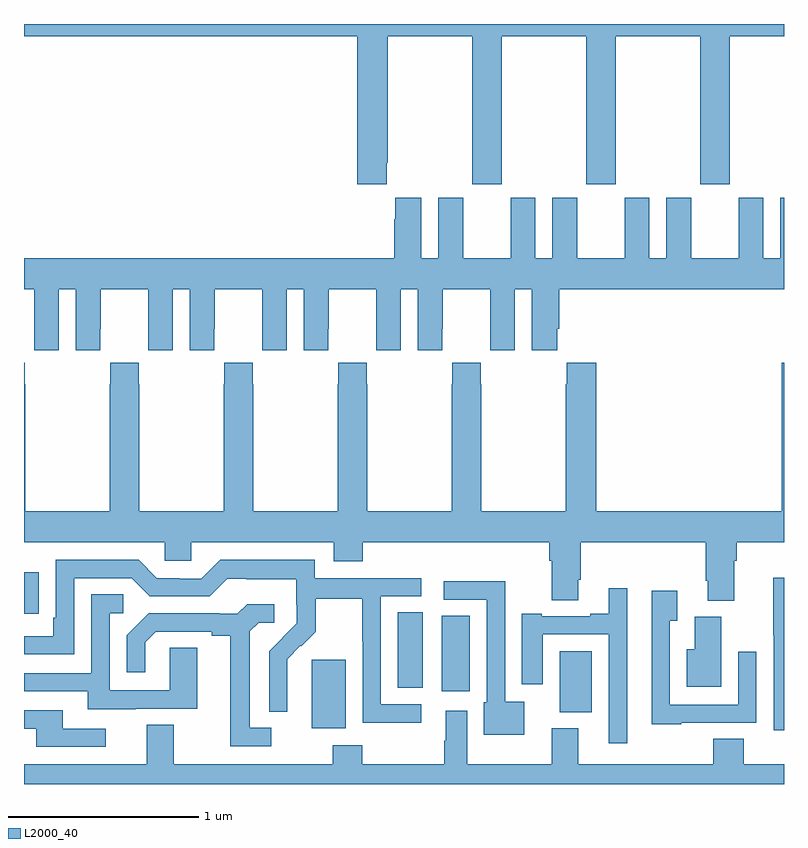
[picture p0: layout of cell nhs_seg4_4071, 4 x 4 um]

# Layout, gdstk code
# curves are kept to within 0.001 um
import gdstk
lib = gdstk.Library(unit=1e-6, precision=1e-09)
def R(c, l, rs):  # rectangles x0, y0, x1, y1
    for r in rs: c.add(gdstk.rectangle(r[:2], r[2:], *l))
def P(c, l, *ps):  # polygons
    for p in ps: c.add(gdstk.Polygon(p, *l))
L2000_40 = (2000, 40)

nhs_seg4_4071 = lib.new_cell('nhs_seg4_4071')
R(nhs_seg4_4071, L2000_40, [(328.514,777.194,328.693,777.555), (329.819,777.278,329.989,777.598), (329.198,777.387,329.347,777.785), (328.967,777.406,329.098,777.803), (327,777.796,327.077,778.015)])
P(nhs_seg4_4071, L2000_40, [(328.909,780.169),(328.914,780.169),(328.914,780.836),(329.359,780.836),(329.359,780.057),(329.514,780.057),(329.514,780.836),(329.959,780.836),(329.959,780.057),(330.114,780.057),(330.114,780.836),(330.559,780.836),(330.559,780.057),(330.714,780.057),(330.714,780.836),(331,780.836),(331,780.9),(327,780.9),(327,780.836),(328.754,780.836),(328.754,780.057),(328.909,780.057)],
  [(327,779.504),(327.053,779.504),(327.053,779.296),(327.054,779.296),(327.054,779.184),(327.184,779.184),(327.184,779.504),(327.272,779.504),(327.272,779.184),(327.402,779.184),(327.402,779.296),(327.403,779.296),(327.403,779.504),(327.653,779.504),(327.653,779.296),(327.654,779.296),(327.654,779.184),(327.784,779.184),(327.784,779.504),(327.872,779.504),(327.872,779.184),(328.002,779.184),(328.002,779.296),(328.003,779.296),(328.003,779.504),(328.253,779.504),(328.253,779.296),(328.254,779.296),(328.254,779.184),(328.384,779.184),(328.384,779.504),(328.472,779.504),(328.472,779.184),(328.602,779.184),(328.602,779.296),(328.603,779.296),(328.603,779.504),(328.853,779.504),(328.853,779.296),(328.854,779.296),(328.854,779.184),(328.984,779.184),(328.984,779.504),(329.072,779.504),(329.072,779.184),(329.202,779.184),(329.202,779.296),(329.203,779.296),(329.203,779.504),(329.453,779.504),(329.453,779.296),(329.454,779.296),(329.454,779.184),(329.584,779.184),(329.584,779.504),(329.672,779.504),(329.672,779.184),(329.806,779.184),(329.806,779.296),(329.816,779.296),(329.816,779.504),(331,779.504),(331,779.986),(330.98,779.986),(330.98,779.668),(330.892,779.668),(330.892,779.986),(330.761,779.986),(330.761,779.668),(330.511,779.668),(330.511,779.986),(330.38,779.986),(330.38,779.668),(330.292,779.668),(330.292,779.986),(330.161,779.986),(330.161,779.668),(329.911,779.668),(329.911,779.986),(329.78,779.986),(329.78,779.668),(329.692,779.668),(329.692,779.986),(329.561,779.986),(329.561,779.668),(329.311,779.668),(329.311,779.986),(329.18,779.986),(329.18,779.668),(329.092,779.668),(329.092,779.986),(328.955,779.986),(328.955,779.873),(328.949,779.873),(328.949,779.668),(327,779.668)],
  [(330.739,778.076),(330.752,778.076),(330.752,778.172),(331,778.172),(331,779.116),(330.989,779.116),(330.989,778.336),(330.011,778.336),(330.011,779.116),(329.857,779.116),(329.857,779.003),(329.851,779.003),(329.851,778.336),(329.406,778.336),(329.406,779.003),(329.403,779.003),(329.403,779.116),(329.253,779.116),(329.253,779.003),(329.251,779.003),(329.251,778.336),(328.806,778.336),(328.806,779.003),(328.803,779.003),(328.803,779.116),(328.653,779.116),(328.653,779.003),(328.651,779.003),(328.651,778.336),(328.206,778.336),(328.206,779.003),(328.203,779.003),(328.203,779.116),(328.053,779.116),(328.053,779.003),(328.051,779.003),(328.051,778.336),(327.606,778.336),(327.606,779.003),(327.603,779.003),(327.603,779.116),(327.453,779.116),(327.453,779.003),(327.451,779.003),(327.451,778.336),(327.006,778.336),(327.006,779.003),(327.003,779.003),(327.003,779.116),(327,779.116),(327,778.172),(327.741,778.172),(327.741,778.074),(327.879,778.074),(327.879,778.172),(328.631,778.172),(328.631,778.073),(328.784,778.073),(328.784,778.172),(329.765,778.172),(329.765,778.076),(329.777,778.076),(329.777,777.868),(329.917,777.868),(329.917,777.976),(329.93,777.976),(329.93,778.172),(330.587,778.172),(330.587,777.97),(330.599,777.97),(330.599,777.865),(330.739,777.865)],
  [(329.092,777.321),(328.878,777.321),(328.878,777.888),(329.092,777.888),(329.092,777.984),(328.53,777.984),(328.53,778.081),(328.033,778.081),(327.933,777.981),(327.818,777.981),(327.818,777.984),(327.699,777.984),(327.603,778.08),(327.168,778.08),(327.168,777.775),(327.155,777.775),(327.155,777.678),(327,777.678),(327,777.582),(327.264,777.582),(327.264,777.984),(327.567,777.984),(327.663,777.888),(327.978,777.888),(328.071,777.981),(328.171,777.981),(328.171,777.977),(328.434,777.977),(328.434,777.843),(328.436,777.843),(328.436,777.746),(328.29,777.598),(328.29,777.28),(328.386,777.28),(328.385,777.557),(328.455,777.627),(328.458,777.624),(328.535,777.701),(328.535,777.876),(328.78,777.876),(328.78,777.652),(328.782,777.652),(328.782,777.223),(329.092,777.223)],
  [(331,777.986),(330.944,777.986),(330.944,777.682),(330.945,777.682),(330.945,777.183),(331,777.183)],
  [(329.632,777.334),(329.532,777.334),(329.532,777.968),(329.208,777.968),(329.208,777.87),(329.436,777.87),(329.436,777.33),(329.42,777.33),(329.42,777.158),(329.632,777.158)],
  [(330.174,777.931),(330.077,777.931),(330.077,777.796),(329.981,777.796),(329.981,777.783),(329.725,777.783),(329.725,777.796),(329.621,777.796),(329.621,777.426),(329.731,777.426),(329.731,777.687),(330.078,777.687),(330.078,777.114),(330.174,777.114)],
  [(330.459,777.222),(330.855,777.222),(330.855,777.595),(330.759,777.595),(330.759,777.318),(330.399,777.318),(330.399,777.76),(330.439,777.76),(330.439,777.916),(330.303,777.916),(330.303,777.215),(330.459,777.215)],
  [(327.589,777.297),(327.913,777.297),(327.913,777.617),(327.768,777.617),(327.768,777.393),(327.45,777.393),(327.45,777.798),(327.523,777.798),(327.523,777.899),(327.354,777.899),(327.354,777.483),(327,777.483),(327,777.387),(327.335,777.387),(327.335,777.293),(327.589,777.293)],
  [(328.3,777.195),(328.189,777.195),(328.189,777.703),(328.236,777.75),(328.318,777.75),(328.318,777.847),(328.174,777.847),(328.122,777.795),(328.028,777.795),(328.028,777.798),(327.656,777.798),(327.54,777.682),(327.54,777.489),(327.637,777.489),(327.637,777.645),(327.694,777.702),(327.989,777.702),(327.989,777.68),(328.085,777.68),(328.085,777.099),(328.3,777.099)],
  [(330.67,777.78),(330.53,777.78),(330.53,777.61),(330.488,777.61),(330.488,777.413),(330.67,777.413)],
  [(327.43,777.192),(327.205,777.192),(327.205,777.288),(327,777.288),(327,777.192),(327.065,777.192),(327.065,777.096),(327.43,777.096)],
  [(331,777.004),(330.788,777.004),(330.788,777.137),(330.628,777.137),(330.628,777.004),(329.917,777.004),(329.917,777.193),(329.777,777.193),(329.777,777.004),(329.332,777.004),(329.332,777.286),(329.219,777.286),(329.219,777.128),(329.212,777.128),(329.212,777.004),(328.779,777.004),(328.779,777.103),(328.624,777.103),(328.624,777.004),(327.787,777.004),(327.787,777.212),(327.647,777.212),(327.647,777.004),(327,777.004),(327,776.9),(331,776.9)])

lib.write_gds('nhs_seg4_4071.gds')
